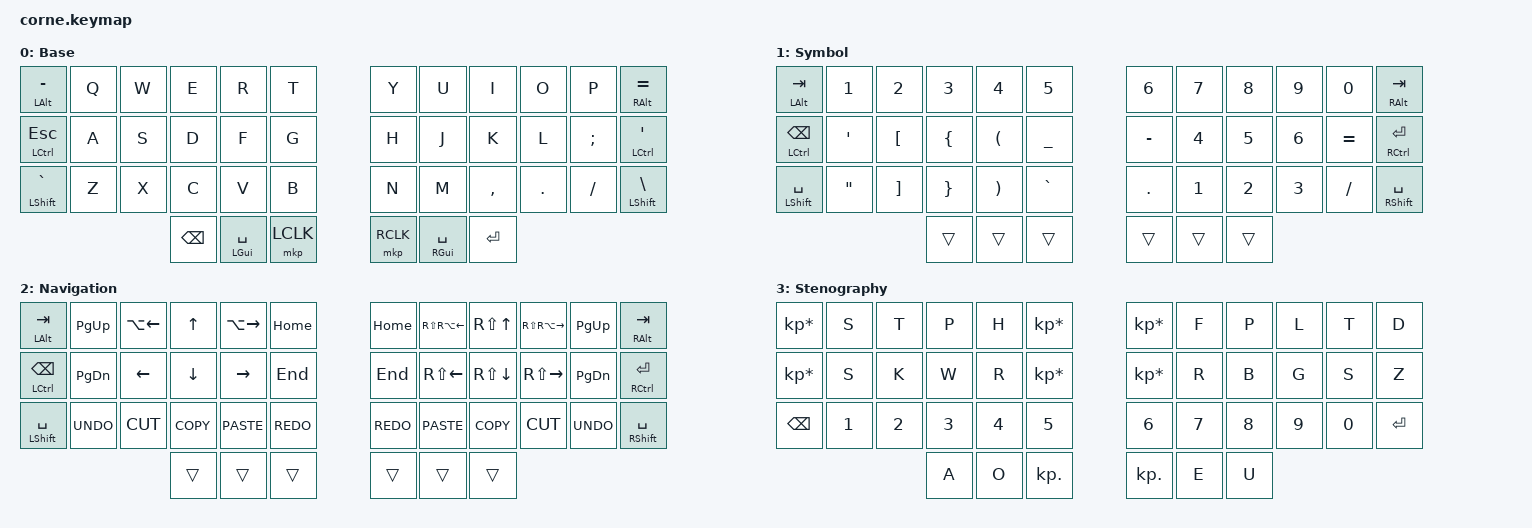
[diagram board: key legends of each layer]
/*
 * Copyright (c) 2020 The ZMK Contributors
 *
 * SPDX-License-Identifier: MIT
 */

#include <behaviors.dtsi>
#include <dt-bindings/zmk/keys.h>
#include <dt-bindings/zmk/mouse.h>

/ {
    combos {
        compatible = "zmk,combos";

        LSHIFT4C {
            bindings = <&kp LSHFT>;
            key-positions = <25 26 27 28>;
            layers = <0 1 2>;
        };

        LCTRL4C {
            bindings = <&kp LCTRL>;
            key-positions = <13 14 15 16>;
            layers = <0 2 1>;
        };

        LALT4C {
            bindings = <&kp LALT>;
            key-positions = <1 2 3 4>;
            layers = <0 2 1>;
        };

        RSHIFT4C {
            bindings = <&kp RSHFT>;
            key-positions = <31 32 33 34>;
            layers = <0 1 2>;
        };

        RCTRL4C {
            bindings = <&kp RCTRL>;
            key-positions = <19 20 22 21>;
            layers = <0 1 2>;
        };

        RALT4C {
            bindings = <&kp RALT>;
            key-positions = <7 8 9 10>;
            layers = <0 1 2>;
        };

        LSHIFT3C {
            bindings = <&kp LSHFT>;
            key-positions = <25 26 27>;
            layers = <0 1 2>;
        };

        LCTRL3C {
            bindings = <&kp LCTRL>;
            key-positions = <13 14 15>;
            layers = <0 1 2>;
        };

        LALT3C {
            bindings = <&kp LALT>;
            key-positions = <1 2 3>;
            layers = <0 1 2>;
        };

        RSHIFT3C {
            bindings = <&kp RSHFT>;
            key-positions = <32 33 34>;
            layers = <0 1 2>;
        };

        RCTRL3C {
            bindings = <&kp RCTRL>;
            key-positions = <20 22 21>;
            layers = <0 1 2>;
        };

        RALT3C {
            bindings = <&kp RALT>;
            key-positions = <8 9 10>;
            layers = <0 1 2>;
        };

        CAPSLOCK8C {
            bindings = <&kp CAPS>;
            key-positions = <25 26 27 28 31 32 33 34>;
            layers = <0>;
        };

        LBRACKET2C {
            bindings = <&kp LEFT_BRACKET>;
            key-positions = <26 27>;
            layers = <0>;
        };

        RBRACKET2C {
            bindings = <&kp RIGHT_BRACKET>;
            key-positions = <33 32>;
            layers = <0>;
        };

        ONE2C {
            bindings = <&kp NUMBER_1>;
            key-positions = <0 1>;
            layers = <0 2>;
        };

        TWO2C {
            bindings = <&kp NUMBER_2>;
            key-positions = <1 2>;
            layers = <0 2>;
        };

        THREE2C {
            bindings = <&kp NUMBER_3>;
            key-positions = <2 3>;
            layers = <0 2>;
        };

        FOUR2C {
            bindings = <&kp NUMBER_4>;
            key-positions = <3 4>;
            layers = <0 2>;
        };

        FIVE2C {
            bindings = <&kp N5>;
            key-positions = <4 5>;
            layers = <0 2>;
        };

        SIX2C {
            bindings = <&kp NUMBER_6>;
            key-positions = <6 7>;
            layers = <0 2>;
        };

        SEVEN2C {
            bindings = <&kp N7>;
            key-positions = <7 8>;
            layers = <0 2>;
        };

        EIGHT2C {
            bindings = <&kp N8>;
            key-positions = <8 9>;
            layers = <0 2>;
        };

        NINE2C {
            bindings = <&kp N9>;
            key-positions = <9 10>;
            layers = <0 2>;
        };

        ZERO2C {
            bindings = <&kp N0>;
            key-positions = <10 11>;
            layers = <0 2>;
        };

        SUPER2C {
            bindings = <&mt RGUI CAPS>;
            key-positions = <24 35>;
            layers = <1 2>;
        };

        RETURN2C {
            bindings = <&kp RETURN>;
            key-positions = <22 23>;
            layers = <0 1 2>;
        };

        BACKSPACE2C {
            bindings = <&kp BACKSPACE>;
            key-positions = <34 35>;
            layers = <0 1 2>;
        };

        ESCAPE2C {
            bindings = <&kp ESCAPE>;
            key-positions = <13 12>;
            layers = <0 1 2>;
        };

        DELETE2C {
            bindings = <&kp DELETE>;
            key-positions = <24 25>;
            layers = <0 1 2>;
        };
        
        SYMBOL2C {
            bindings = <&lt 1 ESCAPE>;
            key-positions = <36 41>;
            layers = <0 1 2>;
        };

        NAVIGATION2C {
            bindings = <&lt 2 SPACE>;
            key-positions = <37 40>;
            layers = <0 1 2>;
        };

        STENO2C {
            bindings = <&tog 3>;
            key-positions = <38 39>;
        };
    };

    keymap {
        compatible = "zmk,keymap";

        Base {
            bindings = <
&mt LALT MINUS    &kp Q  &kp W  &kp E     &kp R               &kp T        &kp Y      &kp U           &kp I      &kp O    &kp P     &mt RALT EQUAL
&mt LCTRL ESCAPE  &kp A  &kp S  &kp D     &kp F               &kp G        &kp H      &kp J           &kp K      &kp L    &kp SEMI  &mt LCTRL SINGLE_QUOTE
&mt LSHFT GRAVE   &kp Z  &kp X  &kp C     &kp V               &kp B        &kp N      &kp M           &kp COMMA  &kp DOT  &kp FSLH  &mt LSHFT BACKSLASH
                                &kp BSPC  &mt LEFT_GUI SPACE  &mkp LCLK    &mkp RCLK  &mt RGUI SPACE  &kp ENTER
            >;
        };

        Symbol {
            bindings = <
&mt LALT TAB         &kp N1             &kp N2    &kp N3           &kp N4                 &kp N5            &kp N6     &kp N7  &kp N8  &kp N9  &kp N0     &mt RALT TAB
&mt LCTRL BACKSPACE  &kp APOS           &kp LBKT  &kp LEFT_BRACE   &kp LEFT_PARENTHESIS   &kp UNDERSCORE    &kp MINUS  &kp N4  &kp N5  &kp N6  &kp EQUAL  &mt RCTRL ENTER
&mt LSHFT SPACE      &kp DOUBLE_QUOTES  &kp RBKT  &kp RIGHT_BRACE  &kp RIGHT_PARENTHESIS  &kp GRAVE         &kp DOT    &kp N1  &kp N2  &kp N3  &kp FSLH   &mt RSHFT SPACE
                                                  &trans           &trans                 &trans            &trans     &trans  &trans
            >;
        };

        Navigation {
            bindings = <
&mt LALT TAB         &kp PAGE_UP    &kp LA(LEFT_ARROW)  &kp UP_ARROW    &kp LA(RIGHT)  &kp HOME      &kp HOME    &kp RS(RA(LEFT_ARROW))  &kp RS(UP_ARROW)  &kp RS(RA(RIGHT))  &kp PG_UP      &mt RALT TAB
&mt LCTRL BACKSPACE  &kp PAGE_DOWN  &kp LEFT            &kp DOWN_ARROW  &kp RIGHT      &kp END       &kp END     &kp RS(LEFT)            &kp RS(DOWN)      &kp RS(RIGHT)      &kp PAGE_DOWN  &mt RCTRL RET
&mt LSHFT SPACE      &kp K_UNDO     &kp K_CUT           &kp K_COPY      &kp K_PASTE    &kp K_REDO    &kp K_REDO  &kp K_PASTE             &kp K_COPY        &kp K_CUT          &kp K_UNDO     &mt RSHFT SPACE
                                                        &trans          &trans         &trans        &trans      &trans                  &trans
            >;
        };

        Stenography {
            bindings = <
&kp KP_ASTERISK  &kp S   &kp T   &kp P   &kp H   &kp KP_MULTIPLY    &kp KP_MULTIPLY  &kp F   &kp P   &kp L   &kp T   &kp D
&kp KP_ASTERISK  &kp S   &kp K   &kp W   &kp R   &kp KP_MULTIPLY    &kp KP_MULTIPLY  &kp R   &kp B   &kp G   &kp S   &kp Z
&kp BSPC         &kp N1  &kp N2  &kp N3  &kp N4  &kp N5             &kp N6           &kp N7  &kp N8  &kp N9  &kp N0  &kp ENTER
                                 &kp A   &kp O   &kp KP_DOT         &kp KP_DOT       &kp E   &kp U
            >;
        };
    };
};
